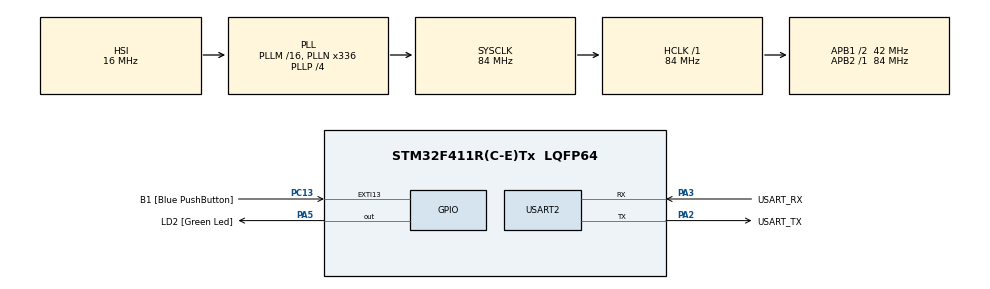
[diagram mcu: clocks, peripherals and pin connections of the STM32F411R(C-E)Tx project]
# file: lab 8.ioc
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Mcu.Family=STM32F4
PC15-OSC32_OUT.Mode=LSE-External-Oscillator
RCC.CortexFreq_Value=84000000
PC13-ANTI_TAMP.GPIO_Label=B1 [Blue PushButton]
PA14.GPIO_Label=TCK
PH1\ -\ OSC_OUT.Mode=HSE-External-Clock-Source
RCC.APB1CLKDivider=RCC_HCLK_DIV2
PC14-OSC32_IN.Signal=RCC_OSC32_IN
NVIC.USART2_IRQn=true\:0\:0\:false\:false\:true\:true\:true
RCC.SYSCLKSource=RCC_SYSCLKSOURCE_PLLCLK
ProjectManager.StackSize=0x400
PA13.Signal=SYS_JTMS-SWDIO
PA3.Mode=Asynchronous
PH0\ -\ OSC_IN.Mode=HSE-External-Clock-Source
PH0\ -\ OSC_IN.Signal=RCC_OSC_IN
ProjectManager.TargetToolchain=STM32CubeIDE
RCC.HCLKFreq_Value=84000000
RCC.APB2TimFreq_Value=84000000
PC15-OSC32_OUT.Signal=RCC_OSC32_OUT
RCC.AHBFreq_Value=84000000
PA5.Signal=GPIO_Output
RCC.HSE_VALUE=8000000
PH1\ -\ OSC_OUT.Signal=RCC_OSC_OUT
board=NUCLEO-F411RE
PC13-ANTI_TAMP.Signal=GPXTI13
RCC.VCOOutputFreq_Value=336000000
RCC.APB2Freq_Value=84000000
PC14-OSC32_IN.Mode=LSE-External-Oscillator
VP_TIM2_VS_ClockSourceINT.Mode=Internal
PA14.Mode=Serial_Wire
PA13.Mode=Serial_Wire
Mcu.Name=STM32F411R(C-E)Tx
PA2.Signal=USART2_TX
PA13.GPIO_Label=TMS
RCC.FLatency-AdvancedSettings=FLASH_LATENCY_2
RCC.48MHZClocksFreq_Value=84000000
PB3.Signal=SYS_JTDO-SWO
RCC.SYSCLKFreq_VALUE=84000000
Mcu.Package=LQFP64
PA5.GPIO_Label=LD2 [Green Led]
USART2.VirtualMode=VM_ASYNC
PC13-ANTI_TAMP.GPIO_ModeDefaultEXTI=GPIO_MODE_IT_FALLING
PA2.GPIO_Label=USART_TX
PA14.Signal=SYS_JTCK-SWCLK
ProjectManager.HeapSize=0x200
RCC.HSI_VALUE=16000000
RCC.PLLP=RCC_PLLP_DIV4
NVIC.PriorityGroup=NVIC_PRIORITYGROUP_0
RCC.PLLN=336
RCC.APB1TimFreq_Value=84000000
PA2.Mode=Asynchronous
RCC.APB1Freq_Value=42000000
PA3.GPIO_Label=USART_RX
PA3.Signal=USART2_RX
PB3.GPIO_Label=SWO

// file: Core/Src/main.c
/* USER CODE BEGIN Header */
/**
 ******************************************************************************
 * @file           : main.c
 * @brief          : Main program body
 ******************************************************************************
 * @attention
 *
 * <h2><center>&copy; Copyright (c) 2021 STMicroelectronics.
 * All rights reserved.</center></h2>
 *
 * This software component is licensed by ST under BSD 3-Clause license,
 * the "License"; You may not use this file except in compliance with the
 * License. You may obtain a copy of the License at:
 *                        opensource.org/licenses/BSD-3-Clause
 *
 ******************************************************************************
 */
/* USER CODE END Header */
#include "main.h"

/* USER CODE BEGIN Includes */
#include <stdio.h>
#include <string.h>
/* USER CODE END Includes */

TIM_HandleTypeDef htim2;

UART_HandleTypeDef huart2;

/* USER CODE BEGIN PV */
char TxDataBuffer[32] =
{ 0 };
char RxDataBuffer[32] =
{ 0 };
char LEDfrequency[25]={0};
uint16_t STATE_Display = 0;
int frequency=1;
float period;
float LED_DELAY=500;
uint32_t TimeStamp=0;
uint8_t Switch[2]={0};
int count=0;
int LED=0;
int a;
enum _StateDisplay
		{
			StateDisplay_Start = 0,
			StateDisplay_Menu_Print =10,
			StateDisplay_Menu_WaitInput,
			StateDisplay_Menu1_Print =20,
			StateDisplay_Menu1_WaitInput,
			StateDisplay_Menu2_Print =30,
			StateDisplay_Menu2_WaitInput,
			StateDisplay_LED_Control=40,
			StateDisplay_LED_Increase_Frequency=50,
			StateDisplay_LED_Decrease_Frequency=60,
			StateDisplay_LED_ONOFF=70,
			StateDisplay_Show_Status_Button=80,
			StateDisplay_ERROR=90,

		};
/* USER CODE END PV */

void SystemClock_Config(void);
static void MX_GPIO_Init(void);
static void MX_USART2_UART_Init(void);
static void MX_TIM2_Init(void);
/* USER CODE BEGIN PFP */
void UARTRecieveAndResponsePolling();
int16_t UARTRecieveIT();
/* USER CODE END PFP */

int main(void)
{

  /* MCU Configuration--------------------------------------------------------*/

  /* Reset of all peripherals, Initializes the Flash interface and the Systick. */
  HAL_Init();

  /* Configure the system clock */
  SystemClock_Config();

  /* Initialize all configured peripherals */
  MX_GPIO_Init();
  MX_USART2_UART_Init();
  MX_TIM2_Init();
  /* USER CODE BEGIN 2 */
	  char temp[]="HELLO WORLD\r\n please type something to test UART\r\n";
	  char Menu[]= "Menu1 please press 0\r\n Menu2 please press 1\r\n";
	  char Menu1[]="a = frequency +1hz\r\n s= frequency - 1hz\r\n d= LED On/OFF\r\n x= Back\r\n";
	  char Menu2[]="Show buttonStatus\r\n x= Back\r\n ";
	  char Buttonpress[] = "Button Press\r\n";
	  char Buttonunpress[] = "Button UnPress\r\n";
	  char Error[] = "Error Please try again\r\n";
	  char LEDON[]="LED ON\r\n";
	  char LEDOFF[]="LED OFF\r\n";

  //HAL_UART_Transmit(&huart2, (uint8_t*)temp, strlen(temp),10);
  /* USER CODE END 2 */

  /* Infinite loop */
  /* USER CODE BEGIN WHILE */
	while (1)
	{
		/*Method 1 Polling Mode*/

//		UARTRecieveAndResponsePolling();

		/*Method 2 Interrupt Mode*/
		HAL_UART_Receive_IT(&huart2,  (uint8_t*)RxDataBuffer, 32);

		/*Method 2 W/ 1 Char Received*/
		int16_t inputchar = UARTRecieveIT();
		if(inputchar!=-1)
		{

			sprintf(TxDataBuffer, "ReceivedChar:[%c]\r\n", inputchar);
			HAL_UART_Transmit(&huart2, (uint8_t*)TxDataBuffer, strlen(TxDataBuffer), 1000);
		}
		switch(STATE_Display)
		{
		case StateDisplay_Start:
			STATE_Display = StateDisplay_Menu_Print;
			break;
		case StateDisplay_Menu_Print:
			HAL_UART_Transmit(&huart2, (u_int8_t*)Menu, strlen(Menu), 10);
			 STATE_Display = StateDisplay_Menu_WaitInput;
			 break;
		case StateDisplay_Menu_WaitInput:
		switch(inputchar)
		{
		case'0':
			STATE_Display = StateDisplay_Menu1_Print;
			break;
		case'1':
			STATE_Display = StateDisplay_Menu2_Print;
			break;
//		default:
//			HAL_UART_Transmit(&huart2, (u_int8_t*)Error, strlen(Error), 10);
//			break;
		}
		break;
		case StateDisplay_Menu1_Print:
			HAL_UART_Transmit(&huart2, (u_int8_t*)Menu1, strlen(Menu1), 10);
			 STATE_Display = StateDisplay_LED_Control;
			 break;
		case StateDisplay_Menu2_Print:
			HAL_UART_Transmit(&huart2, (u_int8_t*)Menu2, strlen(Menu2), 10);
			STATE_Display = StateDisplay_Show_Status_Button ;
			break;
		case StateDisplay_Show_Status_Button:
			Switch[0]=HAL_GPIO_ReadPin(GPIOC, GPIO_PIN_13);
			if (Switch[0]==0 && Switch[1]==1)
			{
				HAL_UART_Transmit(&huart2, (u_int8_t*)Buttonpress, strlen(Buttonpress), 10);
			}
			else if (Switch[0]==1 && Switch[1]==0)
			{
				HAL_UART_Transmit(&huart2, (u_int8_t*)Buttonunpress, strlen(Buttonunpress), 10);

			}
			Switch[1]=Switch[0];
		case StateDisplay_LED_Control:
				switch(inputchar)
				{
				case'0':
					break;
				case 'a':
					STATE_Display= StateDisplay_LED_Increase_Frequency;
					break;
				case 's':
					STATE_Display= StateDisplay_LED_Decrease_Frequency;
					break;
				case 'd':
					STATE_Display= StateDisplay_LED_ONOFF;
					break;
				case 'x':
					STATE_Display= StateDisplay_Menu_Print;
					break;
				}

				break;
//		case StateDisplay_ERROR:
//			HAL_UART_Transmit(&huart2, (u_int8_t*)Error, strlen(Error), 10);
//			STATE_Display=StateDisplay_LED_Control;
//			break;

		case StateDisplay_LED_Increase_Frequency:
				frequency+=1;
				period= 1.0/frequency;
				LED_DELAY=period *500;
				sprintf(LEDfrequency,"Frequency: %d Hz\r\n",frequency);
				HAL_UART_Transmit(&huart2, (uint8_t*)LEDfrequency, strlen(LEDfrequency), 10);
//				LED=1;
//				if(HAL_GetTick()-TimeStamp>= LED_DELAY)
//				{
//					TimeStamp=HAL_GetTick();
//					HAL_GPIO_TogglePin(GPIOA, GPIO_PIN_5);
//a
//				}
				STATE_Display= StateDisplay_LED_Control;
		break;
		case StateDisplay_LED_Decrease_Frequency:
			frequency-=1;
			period= 1.0/frequency;
			LED_DELAY=period *500;
			sprintf(LEDfrequency,"Frequency: %d Hz\r\n",frequency);
			HAL_UART_Transmit(&huart2, (uint8_t*)LEDfrequency, strlen(LEDfrequency), 10);
//			if(HAL_GetTick()-TimeStamp>=LED_DELAY)
//			{
//				TimeStamp=HAL_GetTick();
//				HAL_GPIO_TogglePin(GPIOA, GPIO_PIN_5);
//			}

			STATE_Display= StateDisplay_LED_Control;
			break;
		case StateDisplay_LED_ONOFF:
			LED+=1;
			if(HAL_GPIO_ReadPin(GPIOA, GPIO_PIN_5)==GPIO_PIN_RESET && count%2==0)
			{
				HAL_GPIO_WritePin(GPIOA, GPIO_PIN_5, GPIO_PIN_SET);
				HAL_UART_Transmit(&huart2, (u_int8_t*)LEDON, strlen(LEDON), 10);
				count+=1;

			}

//			if(HAL_GetTick()-TimeStamp>=LED_DELAY)
//			{
//				count%2==0;
//				TimeStamp=HAL_GetTick();
//				HAL_GPIO_TogglePin(GPIOA, GPIO_PIN_5);
//				count+=1;
//			}
			else if(count%2==1)
			{
				HAL_GPIO_ReadPin(GPIOA, GPIO_PIN_5)==GPIO_PIN_SET;
				HAL_GPIO_WritePin(GPIOA, GPIO_PIN_5, GPIO_PIN_RESET);
				HAL_UART_Transmit(&huart2, (u_int8_t*)LEDOFF, strlen(LEDOFF), 10);
				count+=1;
				LED=0;
			}
			STATE_Display= StateDisplay_LED_Control;
			break;
		}
					if(HAL_GetTick()-TimeStamp>=LED_DELAY && LED == 1)
								{
									TimeStamp=HAL_GetTick();
									HAL_GPIO_TogglePin(GPIOA, GPIO_PIN_5);
								}
					if(inputchar>0 && inputchar!= 'a' && inputchar!= 's' && inputchar != 'd' && inputchar!= 'x' && inputchar!= '1'&& inputchar!='0')
					{
						HAL_UART_Transmit(&huart2, (u_int8_t*)Error, strlen(Error), 10);
					}
		/*This section just simmulate Work Load*/
//		HAL_Delay(100);
//		HAL_GPIO_TogglePin(LD2_GPIO_Port, LD2_Pin);
    /* USER CODE END WHILE */

	}
}

void SystemClock_Config(void)
{
  RCC_OscInitTypeDef RCC_OscInitStruct = {0};
  RCC_ClkInitTypeDef RCC_ClkInitStruct = {0};

  /** Configure the main internal regulator output voltage
  */
  __HAL_RCC_PWR_CLK_ENABLE();
  __HAL_PWR_VOLTAGESCALING_CONFIG(PWR_REGULATOR_VOLTAGE_SCALE1);
  /** Initializes the RCC Oscillators according to the specified parameters
  * in the RCC_OscInitTypeDef structure.
  */
  RCC_OscInitStruct.OscillatorType = RCC_OSCILLATORTYPE_HSI;
  RCC_OscInitStruct.HSIState = RCC_HSI_ON;
  RCC_OscInitStruct.HSICalibrationValue = RCC_HSICALIBRATION_DEFAULT;
  RCC_OscInitStruct.PLL.PLLState = RCC_PLL_ON;
  RCC_OscInitStruct.PLL.PLLSource = RCC_PLLSOURCE_HSI;
  RCC_OscInitStruct.PLL.PLLM = 16;
  RCC_OscInitStruct.PLL.PLLN = 336;
  RCC_OscInitStruct.PLL.PLLP = RCC_PLLP_DIV4;
  RCC_OscInitStruct.PLL.PLLQ = 4;
  if (HAL_RCC_OscConfig(&RCC_OscInitStruct) != HAL_OK)
  {
    Error_Handler();
  }
  /** Initializes the CPU, AHB and APB buses clocks
  */
  RCC_ClkInitStruct.ClockType = RCC_CLOCKTYPE_HCLK|RCC_CLOCKTYPE_SYSCLK
                              |RCC_CLOCKTYPE_PCLK1|RCC_CLOCKTYPE_PCLK2;
  RCC_ClkInitStruct.SYSCLKSource = RCC_SYSCLKSOURCE_PLLCLK;
  RCC_ClkInitStruct.AHBCLKDivider = RCC_SYSCLK_DIV1;
  RCC_ClkInitStruct.APB1CLKDivider = RCC_HCLK_DIV2;
  RCC_ClkInitStruct.APB2CLKDivider = RCC_HCLK_DIV1;

  if (HAL_RCC_ClockConfig(&RCC_ClkInitStruct, FLASH_LATENCY_2) != HAL_OK)
  {
    Error_Handler();
  }
}

static void MX_TIM2_Init(void)
{

  TIM_ClockConfigTypeDef sClockSourceConfig = {0};
  TIM_MasterConfigTypeDef sMasterConfig = {0};

  htim2.Instance = TIM2;
  htim2.Init.Prescaler = 0;
  htim2.Init.CounterMode = TIM_COUNTERMODE_UP;
  htim2.Init.Period = 4294967295;
  htim2.Init.ClockDivision = TIM_CLOCKDIVISION_DIV1;
  htim2.Init.AutoReloadPreload = TIM_AUTORELOAD_PRELOAD_DISABLE;
  if (HAL_TIM_Base_Init(&htim2) != HAL_OK)
  {
    Error_Handler();
  }
  sClockSourceConfig.ClockSource = TIM_CLOCKSOURCE_INTERNAL;
  if (HAL_TIM_ConfigClockSource(&htim2, &sClockSourceConfig) != HAL_OK)
  {
    Error_Handler();
  }
  sMasterConfig.MasterOutputTrigger = TIM_TRGO_RESET;
  sMasterConfig.MasterSlaveMode = TIM_MASTERSLAVEMODE_DISABLE;
  if (HAL_TIMEx_MasterConfigSynchronization(&htim2, &sMasterConfig) != HAL_OK)
  {
    Error_Handler();
  }

}

static void MX_USART2_UART_Init(void)
{

  huart2.Instance = USART2;
  huart2.Init.BaudRate = 115200;
  huart2.Init.WordLength = UART_WORDLENGTH_8B;
  huart2.Init.StopBits = UART_STOPBITS_1;
  huart2.Init.Parity = UART_PARITY_NONE;
  huart2.Init.Mode = UART_MODE_TX_RX;
  huart2.Init.HwFlowCtl = UART_HWCONTROL_NONE;
  huart2.Init.OverSampling = UART_OVERSAMPLING_16;
  if (HAL_UART_Init(&huart2) != HAL_OK)
  {
    Error_Handler();
  }

}

static void MX_GPIO_Init(void)
{
  GPIO_InitTypeDef GPIO_InitStruct = {0};

  /* GPIO Ports Clock Enable */
  __HAL_RCC_GPIOC_CLK_ENABLE();
  __HAL_RCC_GPIOH_CLK_ENABLE();
  __HAL_RCC_GPIOA_CLK_ENABLE();
  __HAL_RCC_GPIOB_CLK_ENABLE();

  /*Configure GPIO pin Output Level */
  HAL_GPIO_WritePin(LD2_GPIO_Port, LD2_Pin, GPIO_PIN_RESET);

  /*Configure GPIO pin : B1_Pin */
  GPIO_InitStruct.Pin = B1_Pin;
  GPIO_InitStruct.Mode = GPIO_MODE_IT_FALLING;
  GPIO_InitStruct.Pull = GPIO_NOPULL;
  HAL_GPIO_Init(B1_GPIO_Port, &GPIO_InitStruct);

  /*Configure GPIO pin : LD2_Pin */
  GPIO_InitStruct.Pin = LD2_Pin;
  GPIO_InitStruct.Mode = GPIO_MODE_OUTPUT_PP;
  GPIO_InitStruct.Pull = GPIO_NOPULL;
  GPIO_InitStruct.Speed = GPIO_SPEED_FREQ_LOW;
  HAL_GPIO_Init(LD2_GPIO_Port, &GPIO_InitStruct);

}

/* USER CODE BEGIN 4 */
int16_t UARTRecieveIT()
{
	static uint32_t dataPos =0;
	int16_t data=-1;
	if(huart2.RxXferSize - huart2.RxXferCount!=dataPos)
	{
		data=RxDataBuffer[dataPos];
		dataPos= (dataPos+1)%huart2.RxXferSize;
	}
	return data;
}

void HAL_UART_RxCpltCallback(UART_HandleTypeDef *huart)
{
	sprintf(TxDataBuffer, "Received:[%s]\r\n", RxDataBuffer);
	HAL_UART_Transmit(&huart2, (uint8_t*)TxDataBuffer, strlen(TxDataBuffer), 1000);
}
/* USER CODE END 4 */

void Error_Handler(void)
{
	__disable_irq();
	while (1)
	{
	}
}

/************************ (C) COPYRIGHT STMicroelectronics *****END OF FILE****/
